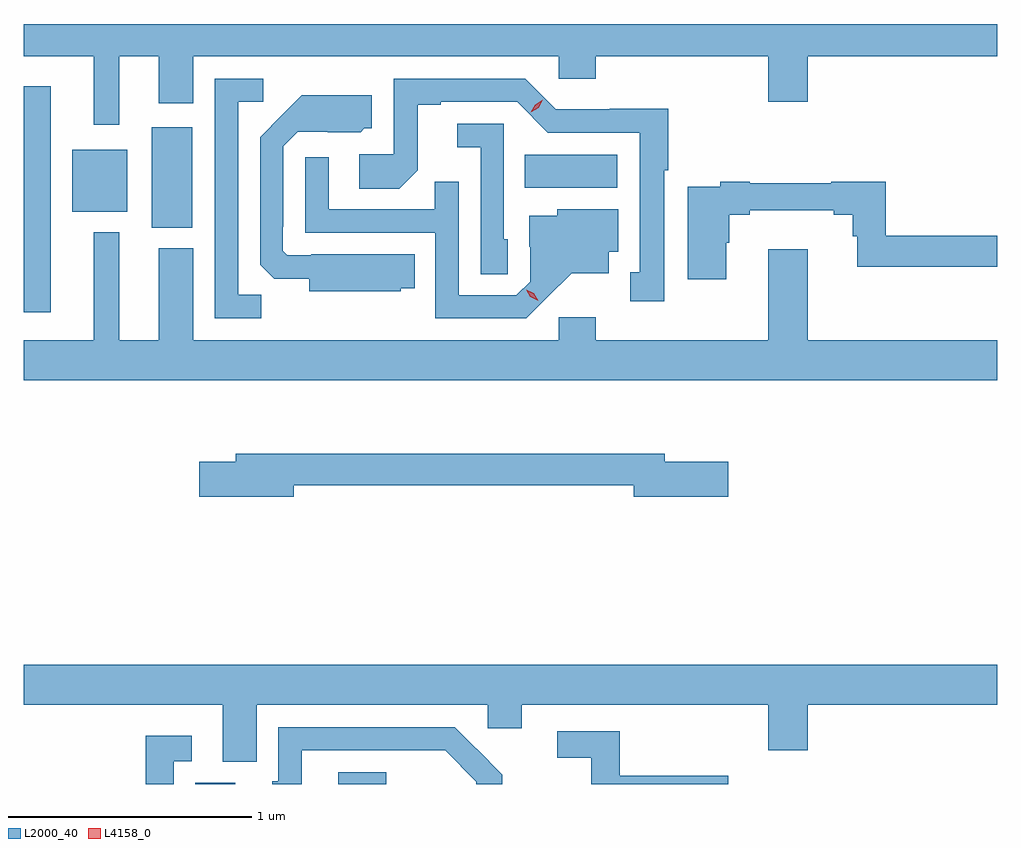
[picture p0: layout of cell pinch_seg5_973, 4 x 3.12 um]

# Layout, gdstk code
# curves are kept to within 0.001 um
import gdstk
lib = gdstk.Library(unit=1e-6, precision=1e-09)
def R(c, l, rs):  # rectangles x0, y0, x1, y1
    for r in rs: c.add(gdstk.rectangle(r[:2], r[2:], *l))
def P(c, l, *ps):  # polygons
    for p in ps: c.add(gdstk.Polygon(p, *l))
L2000_40 = (2000, 40)
L4158_0 = (4158, 0)

pinch_seg5_973 = lib.new_cell('pinch_seg5_973')
R(pinch_seg5_973, L2000_40, [(738.08,912.378,738.244,912.384), (738.666,912.378,738.864,912.426), (737.374,914.315,737.485,915.244), (737.9,914.663,738.067,915.076), (737.573,914.729,737.8,914.983), (739.432,914.828,739.813,914.962)])
P(pinch_seg5_973, L2000_40, [(737.767,915.368),(737.93,915.368),(737.93,915.174),(738.07,915.174),(738.07,915.368),(739.572,915.368),(739.572,915.275),(739.724,915.275),(739.724,915.368),(740.432,915.368),(740.432,915.18),(740.596,915.18),(740.596,915.368),(741.374,915.368),(741.374,915.5),(737.374,915.5),(737.374,915.368),(737.663,915.368),(737.663,915.087),(737.767,915.087)],
  [(740.005,914.899),(740.023,914.899),(740.023,915.152),(739.782,915.152),(739.782,915.15),(739.56,915.15),(739.434,915.276),(738.894,915.276),(738.894,914.964),(738.753,914.964),(738.753,914.824),(738.917,914.824),(738.993,914.9),(738.993,915.168),(739.087,915.168),(739.087,915.18),(739.401,915.18),(739.527,915.054),(739.904,915.054),(739.904,914.481),(739.865,914.481),(739.865,914.361),(740.005,914.361)],
  [(738.351,914.387),(738.255,914.387),(738.255,915.18),(738.358,915.18),(738.358,915.276),(738.159,915.276),(738.159,914.292),(738.351,914.292)],
  [(738.924,914.414),(738.98,914.414),(738.98,914.554),(738.556,914.554),(738.556,914.55),(738.456,914.55),(738.438,914.568),(738.438,914.668),(738.441,914.668),(738.441,914.997),(738.501,915.057),(738.758,915.056),(738.774,915.072),(738.805,915.072),(738.805,915.208),(738.517,915.208),(738.345,915.034),(738.345,914.512),(738.404,914.453),(738.548,914.453),(738.548,914.402),(738.924,914.402)],
  [(739.362,914.616),(739.347,914.616),(739.347,915.09),(739.155,915.09),(739.155,914.993),(739.251,914.993),(739.251,914.473),(739.362,914.473)],
  [(739.522,914.375),(739.625,914.477),(739.777,914.477),(739.777,914.564),(739.816,914.564),(739.816,914.74),(739.566,914.74),(739.566,914.713),(739.451,914.713),(739.451,914.584),(739.455,914.584),(739.455,914.442),(739.398,914.385),(739.161,914.385),(739.161,914.852),(739.063,914.852),(739.063,914.739),(738.627,914.739),(738.627,914.953),(738.531,914.953),(738.531,914.643),(739.065,914.643),(739.065,914.292),(739.438,914.292)],
  [(740.26,914.601),(740.273,914.601),(740.273,914.716),(740.356,914.716),(740.356,914.735),(740.702,914.735),(740.702,914.716),(740.779,914.716),(740.779,914.628),(740.798,914.628),(740.798,914.502),(741.374,914.502),(741.374,914.63),(740.915,914.63),(740.915,914.852),(740.692,914.852),(740.692,914.845),(740.356,914.845),(740.356,914.852),(740.236,914.852),(740.236,914.832),(740.102,914.832),(740.102,914.451),(740.26,914.451)],
  [(741.374,914.2),(740.596,914.2),(740.596,914.575),(740.432,914.575),(740.432,914.2),(739.724,914.2),(739.724,914.296),(739.572,914.296),(739.572,914.2),(738.07,914.2),(738.07,914.578),(737.93,914.578),(737.93,914.2),(737.767,914.2),(737.767,914.644),(737.663,914.644),(737.663,914.2),(737.374,914.2),(737.374,914.036),(741.374,914.036)],
  [(738.484,913.606),(739.88,913.606),(739.88,913.559),(740.269,913.559),(740.269,913.701),(740.008,913.701),(740.008,913.735),(738.245,913.735),(738.245,913.701),(738.096,913.701),(738.096,913.559),(738.484,913.559)],
  [(738.331,912.704),(739.281,912.704),(739.281,912.606),(739.42,912.606),(739.42,912.704),(740.432,912.704),(740.432,912.516),(740.596,912.516),(740.596,912.704),(741.374,912.704),(741.374,912.868),(737.374,912.868),(737.374,912.704),(738.191,912.704),(738.191,912.469),(738.331,912.469)],
  [(738.517,912.516),(739.105,912.516),(739.233,912.387),(739.233,912.378),(739.341,912.378),(739.341,912.417),(739.144,912.612),(738.42,912.612),(738.42,912.39),(738.395,912.39),(738.395,912.378),(738.517,912.378)],
  [(740.269,912.411),(739.823,912.411),(739.823,912.594),(739.566,912.594),(739.566,912.486),(739.706,912.486),(739.706,912.378),(740.269,912.378)],
  [(737.991,912.471),(738.064,912.471),(738.064,912.577),(737.875,912.577),(737.875,912.378),(737.991,912.378)])
P(pinch_seg5_973, L4158_0, [(739.458,915.137),(739.458,915.137),(739.475,915.169),(739.507,915.188),(739.507,915.188),(739.507,915.188),(739.49,915.156),(739.458,915.137)],
  [(739.487,914.364),(739.456,914.379),(739.438,914.409),(739.438,914.409),(739.439,914.409),(739.47,914.394),(739.487,914.364),(739.487,914.364)])

lib.write_gds('pinch_seg5_973.gds')
